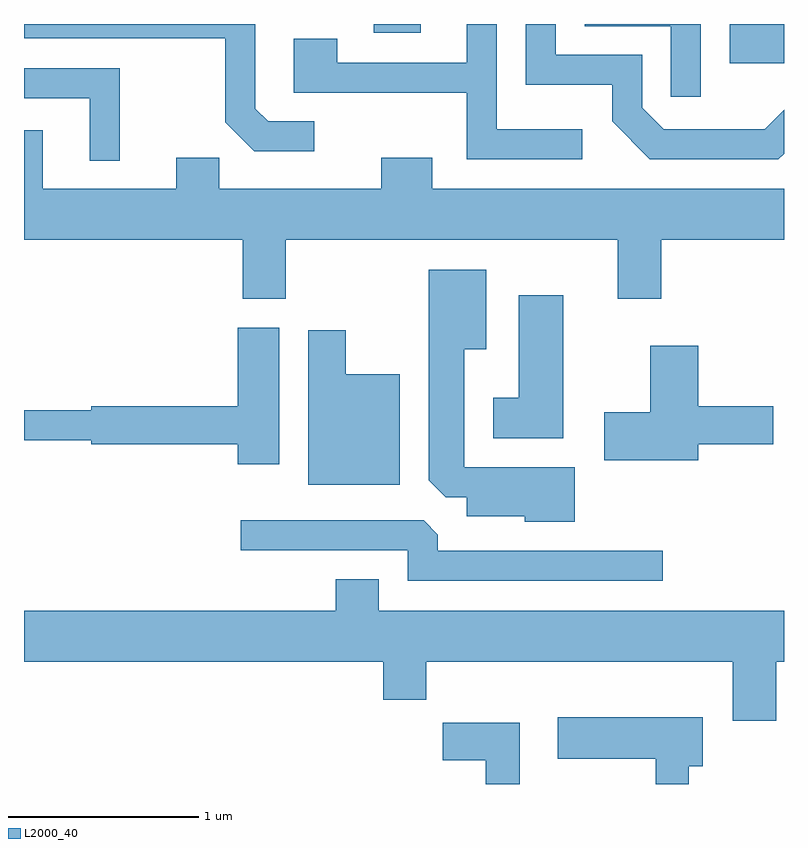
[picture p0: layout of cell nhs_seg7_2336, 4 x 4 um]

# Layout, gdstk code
import gdstk
lib = gdstk.Library(unit=1e-6, precision=1e-09)
def R(c, l, rs):  # rectangles x0, y0, x1, y1
    for r in rs: c.add(gdstk.rectangle(r[:2], r[2:], *l))
def P(c, l, *ps):  # polygons
    for p in ps: c.add(gdstk.Polygon(p, *l))
L2000_40 = (2000, 40)

nhs_seg7_2336 = lib.new_cell('nhs_seg7_2336')
R(nhs_seg7_2336, L2000_40, [(259.326,1804.046,259.611,1804.252), (257.451,1804.206,257.699,1804.252)])
P(nhs_seg7_2336, L2000_40, [(258.548,1803.699),(258.099,1803.699),(258.099,1804.252),(257.941,1804.252),(257.941,1804.049),(257.259,1804.049),(257.259,1804.174),(257.031,1804.174),(257.031,1803.891),(257.941,1803.891),(257.941,1803.541),(258.548,1803.541)],
  [(257.138,1803.739),(256.897,1803.739),(256.829,1803.807),(256.829,1804.252),(255.611,1804.252),(255.611,1804.176),(256.671,1804.176),(256.671,1803.734),(256.824,1803.581),(257.138,1803.581)],
  [(259.611,1803.57),(259.611,1803.801),(259.509,1803.699),(258.977,1803.699),(258.864,1803.812),(258.864,1804.089),(258.409,1804.089),(258.409,1804.252),(258.251,1804.252),(258.251,1803.931),(258.706,1803.931),(258.706,1803.739),(258.904,1803.541),(259.582,1803.541)],
  [(259.174,1804.252),(258.561,1804.252),(258.561,1804.241),(259.016,1804.241),(259.016,1803.868),(259.174,1803.868)],
  [(256.114,1804.019),(255.611,1804.019),(255.611,1803.861),(255.956,1803.861),(255.956,1803.533),(256.114,1803.533)],
  [(256.989,1803.116),(258.736,1803.116),(258.736,1802.806),(258.964,1802.806),(258.964,1803.116),(259.611,1803.116),(259.611,1803.384),(257.759,1803.384),(257.759,1803.549),(257.491,1803.549),(257.491,1803.384),(256.639,1803.384),(256.639,1803.549),(256.411,1803.549),(256.411,1803.384),(255.709,1803.384),(255.709,1803.694),(255.611,1803.694),(255.611,1803.116),(256.761,1803.116),(256.761,1802.806),(256.989,1802.806)],
  [(258.509,1801.919),(257.929,1801.919),(257.929,1802.541),(258.044,1802.541),(258.044,1802.959),(257.741,1802.959),(257.741,1801.852),(257.832,1801.761),(257.941,1801.761),(257.941,1801.661),(258.246,1801.661),(258.246,1801.631),(258.509,1801.631)],
  [(258.449,1802.824),(258.216,1802.824),(258.216,1802.284),(258.081,1802.284),(258.081,1802.071),(258.449,1802.071)],
  [(256.954,1802.654),(256.736,1802.654),(256.736,1802.239),(255.966,1802.239),(255.966,1802.219),(255.611,1802.219),(255.611,1802.061),(255.966,1802.061),(255.966,1802.041),(256.736,1802.041),(256.736,1801.936),(256.954,1801.936)],
  [(257.589,1802.409),(257.304,1802.409),(257.304,1802.639),(257.106,1802.639),(257.106,1801.826),(257.589,1801.826)],
  [(259.159,1802.041),(259.554,1802.041),(259.554,1802.239),(259.159,1802.239),(259.159,1802.559),(258.906,1802.559),(258.906,1802.209),(258.666,1802.209),(258.666,1801.956),(259.159,1801.956)],
  [(258.973,1801.479),(257.789,1801.479),(257.789,1801.564),(257.714,1801.639),(256.753,1801.639),(256.753,1801.481),(257.631,1801.481),(257.631,1801.321),(258.973,1801.321)],
  [(259.569,1800.896),(259.611,1800.896),(259.611,1801.164),(257.479,1801.164),(257.479,1801.329),(257.251,1801.329),(257.251,1801.164),(255.611,1801.164),(255.611,1800.896),(257.501,1800.896),(257.501,1800.696),(257.729,1800.696),(257.729,1800.896),(259.341,1800.896),(259.341,1800.586),(259.569,1800.586)],
  [(259.109,1800.346),(259.184,1800.346),(259.184,1800.604),(258.421,1800.604),(258.421,1800.386),(258.936,1800.386),(258.936,1800.252),(259.109,1800.252)],
  [(258.219,1800.574),(257.816,1800.574),(257.816,1800.376),(258.041,1800.376),(258.041,1800.252),(258.219,1800.252)])

lib.write_gds('nhs_seg7_2336.gds')
